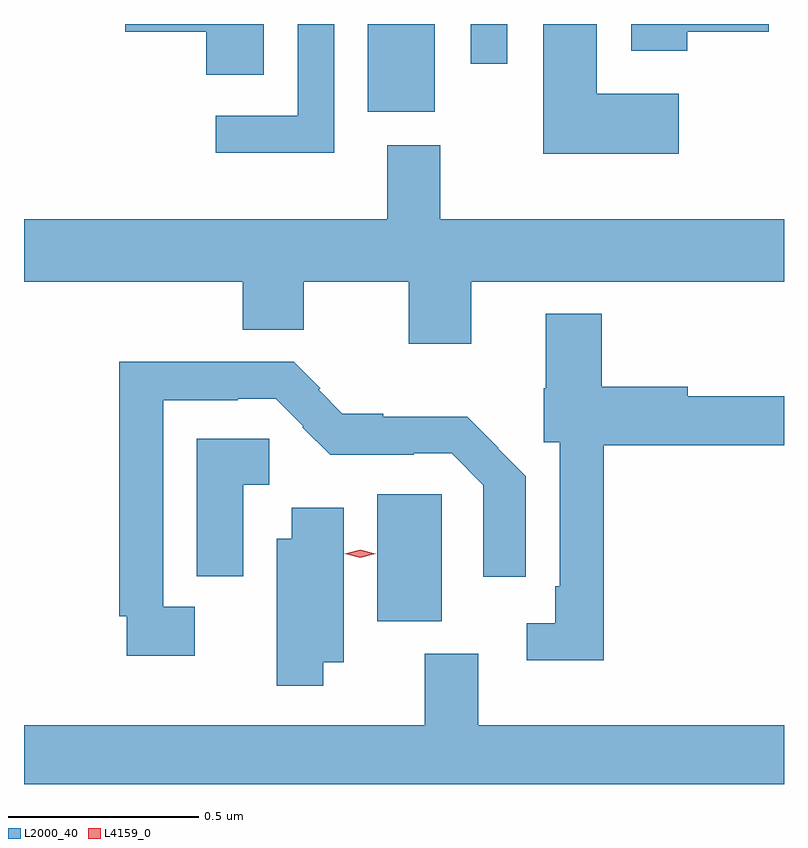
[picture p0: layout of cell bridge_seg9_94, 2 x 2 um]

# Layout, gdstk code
import gdstk
lib = gdstk.Library(unit=1e-6, precision=1e-09)
def R(c, l, rs):  # rectangles x0, y0, x1, y1
    for r in rs: c.add(gdstk.rectangle(r[:2], r[2:], *l))
def P(c, l, *ps):  # polygons
    for p in ps: c.add(gdstk.Polygon(p, *l))
L2000_40 = (2000, 40)
L4159_0 = (4159, 0)

bridge_seg9_94 = lib.new_cell('bridge_seg9_94')
R(bridge_seg9_94, L2000_40, [(664.628,1182.206,664.798,1182.54), (664.604,1183.547,664.78,1183.778), (664.875,1183.674,664.971,1183.778)])
P(bridge_seg9_94, L2000_40, [(664.515,1183.778),(664.419,1183.778),(664.419,1183.536),(664.203,1183.536),(664.203,1183.439),(664.515,1183.439)],
  [(664.33,1183.778),(663.966,1183.778),(663.966,1183.757),(664.178,1183.757),(664.178,1183.644),(664.33,1183.644)],
  [(665.422,1183.594),(665.206,1183.594),(665.206,1183.778),(665.066,1183.778),(665.066,1183.436),(665.422,1183.436)],
  [(665.444,1183.757),(665.659,1183.757),(665.659,1183.778),(665.297,1183.778),(665.297,1183.707),(665.444,1183.707)],
  [(664.876,1183.1),(665.699,1183.1),(665.699,1183.264),(664.795,1183.264),(664.795,1183.459),(664.655,1183.459),(664.655,1183.264),(663.699,1183.264),(663.699,1183.1),(664.274,1183.1),(664.274,1182.974),(664.435,1182.974),(664.435,1183.1),(664.712,1183.1),(664.712,1182.936),(664.876,1182.936)],
  [(665.225,1182.67),(665.699,1182.67),(665.699,1182.799),(665.446,1182.799),(665.446,1182.823),(665.219,1182.823),(665.219,1183.015),(665.072,1183.015),(665.072,1182.819),(665.067,1182.819),(665.067,1182.677),(665.109,1182.677),(665.109,1182.298),(665.097,1182.298),(665.097,1182.201),(665.022,1182.201),(665.022,1182.104),(665.225,1182.104)],
  [(664.148,1182.244),(664.065,1182.244),(664.065,1182.788),(664.262,1182.788),(664.262,1182.792),(664.362,1182.792),(664.434,1182.72),(664.431,1182.717),(664.505,1182.644),(664.724,1182.644),(664.724,1182.648),(664.824,1182.648),(664.908,1182.564),(664.908,1182.324),(665.02,1182.324),(665.02,1182.588),(664.946,1182.662),(664.947,1182.663),(664.865,1182.745),(664.645,1182.745),(664.645,1182.753),(664.537,1182.753),(664.475,1182.815),(664.479,1182.819),(664.409,1182.889),(663.949,1182.889),(663.949,1182.22),(663.969,1182.22),(663.969,1182.116),(664.148,1182.116)],
  [(664.276,1182.566),(664.345,1182.566),(664.345,1182.686),(664.154,1182.686),(664.154,1182.325),(664.276,1182.325)],
  [(664.486,1182.098),(664.54,1182.098),(664.54,1182.505),(664.403,1182.505),(664.403,1182.424),(664.364,1182.424),(664.364,1182.036),(664.486,1182.036)],
  [(665.699,1181.932),(664.894,1181.932),(664.894,1182.121),(664.754,1182.121),(664.754,1181.932),(663.699,1181.932),(663.699,1181.778),(665.699,1181.778)])
P(bridge_seg9_94, L4159_0, [(664.584,1182.374),(664.543,1182.384),(664.543,1182.384),(664.543,1182.384),(664.584,1182.394),(664.624,1182.384),(664.625,1182.384),(664.624,1182.384)])

lib.write_gds('bridge_seg9_94.gds')
